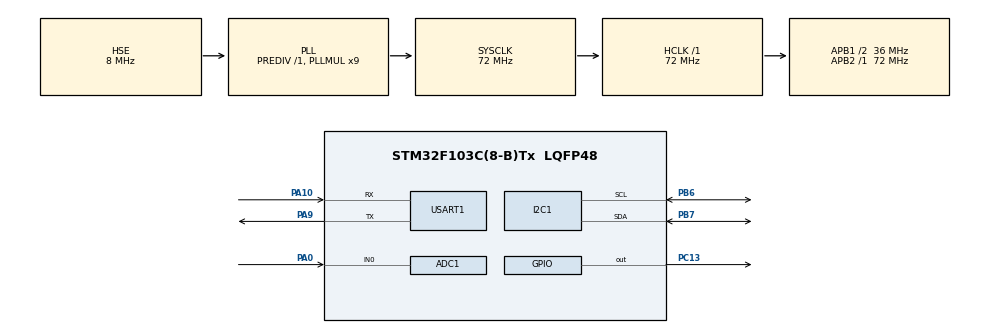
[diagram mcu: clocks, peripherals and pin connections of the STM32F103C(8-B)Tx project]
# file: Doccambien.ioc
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ADC1.Channel-1\#ChannelRegularConversion=ADC_CHANNEL_0
ADC1.NbrOfConversionFlag=1
ADC1.Rank-1\#ChannelRegularConversion=1
ADC1.SamplingTime-1\#ChannelRegularConversion=ADC_SAMPLETIME_1CYCLE_5
ADC1.master=1
Mcu.Family=STM32F1
Mcu.Name=STM32F103C(8-B)Tx
Mcu.Package=LQFP48
NVIC.PriorityGroup=NVIC_PRIORITYGROUP_4
PA0-WKUP.Signal=ADCx_IN0
PA10.Mode=Asynchronous
PA10.Signal=USART1_RX
PA13.Mode=Serial_Wire
PA13.Signal=SYS_JTMS-SWDIO
PA14.Mode=Serial_Wire
PA14.Signal=SYS_JTCK-SWCLK
PA9.Mode=Asynchronous
PA9.Signal=USART1_TX
PB6.Mode=I2C
PB6.Signal=I2C1_SCL
PB7.Mode=I2C
PB7.Signal=I2C1_SDA
PC13-TAMPER-RTC.Signal=GPIO_Output
PD0-OSC_IN.Mode=HSE-External-Oscillator
PD0-OSC_IN.Signal=RCC_OSC_IN
PD1-OSC_OUT.Mode=HSE-External-Oscillator
PD1-OSC_OUT.Signal=RCC_OSC_OUT
ProjectManager.HeapSize=0x200
ProjectManager.StackSize=0x400
ProjectManager.TargetToolchain=STM32CubeIDE
RCC.ADCPresc=RCC_ADCPCLK2_DIV6
RCC.AHBFreq_Value=72000000
RCC.APB1CLKDivider=RCC_HCLK_DIV2
RCC.APB1Freq_Value=36000000
RCC.APB1TimFreq_Value=72000000
RCC.APB2Freq_Value=72000000
RCC.APB2TimFreq_Value=72000000
RCC.HCLKFreq_Value=72000000
RCC.PLLMUL=RCC_PLL_MUL9
RCC.PLLSourceVirtual=RCC_PLLSOURCE_HSE
RCC.SYSCLKFreq_VALUE=72000000
RCC.SYSCLKSource=RCC_SYSCLKSOURCE_PLLCLK
RCC.USBFreq_Value=72000000
SH.ADCx_IN0.0=ADC1_IN0,IN0
USART1.VirtualMode=VM_ASYNC
board=custom

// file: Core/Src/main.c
/* USER CODE BEGIN Header */
/**
 ******************************************************************************
 * @file           : main.c
 * @brief          : Main program body
 ******************************************************************************
 * @attention
 *
 * Copyright (c) 2026 STMicroelectronics.
 * All rights reserved.
 *
 * This software is licensed under terms that can be found in the LICENSE file
 * in the root directory of this software component.
 * If no LICENSE file comes with this software, it is provided AS-IS.
 *
 ******************************************************************************
 */
/* USER CODE END Header */
#include "main.h"
#include "adc.h"
#include "i2c.h"
#include "usart.h"
#include "gpio.h"

/* USER CODE BEGIN Includes */
#include "ssd1306.h"
#include "ssd1306_fonts.h"
#include <stdio.h>
/* USER CODE END Includes */

/* USER CODE BEGIN PD */
#define NUM_SAMPLES 20
/* USER CODE END PD */

/* USER CODE BEGIN PV */
// --- CẤU HÌNH THANG ĐO CẢM BIẾN MỨC NƯỚC (0 - 5M, 0 - 3.3V) ---
#define SENSOR_ZERO_OFFSET_VOLTAGE 0.12f // Điện áp ban đầu khi ở ngoài không khí (0cm)
#define SENSOR_MAX_VOLTAGE         3.30f // Điện áp ngõ ra lớn nhất của cảm biến (V)
#define SENSOR_MAX_WATER_LEVEL_CM  500.0f// Chiều cao mức nước tối đa: 5 mét = 500 cm
#define ADC_SAMPLE_COUNT           32    // Tăng lên 32 mẫu để khử nhiễu tốt hơn

// Hệ số quy đổi áp suất sang cột nước: 1 Bar = 1019.72 cm H2O (P = rho * g * h)
#define BAR_TO_CM_WATER            1019.72f

// Biến lưu trữ giá trị đo
volatile uint32_t g_adc_raw = 0;
volatile float g_voltage = 0.0f;
volatile float g_pressure_bar = 0.0f;
volatile float g_pressure_kpa = 0.0f;
volatile float g_water_level_cm = 0.0f; // Mức nước tính bằng centimet (cm)

char display_line[32];
/* USER CODE END PV */

void SystemClock_Config(void);

/* USER CODE BEGIN 0 */
// Hàm đọc giá trị ADC trung bình 32 mẫu liên tục
uint32_t Read_ADC_Filtered(void) {
  uint32_t sum = 0;
  for (int i = 0; i < ADC_SAMPLE_COUNT; i++) {
    HAL_ADC_Start(&hadc1);
    if (HAL_ADC_PollForConversion(&hadc1, 10) == HAL_OK) {
      sum += HAL_ADC_GetValue(&hadc1);
    }
  }
  return (sum / ADC_SAMPLE_COUNT);
}
/* USER CODE END 0 */

int main(void)
{

  /* MCU Configuration--------------------------------------------------------*/

  /* Reset of all peripherals, Initializes the Flash interface and the Systick. */
  HAL_Init();

  /* Configure the system clock */
  SystemClock_Config();

  /* Initialize all configured peripherals */
  MX_GPIO_Init();
  MX_ADC1_Init();
  MX_USART1_UART_Init();
  MX_I2C1_Init();
  /* USER CODE BEGIN 2 */
  // 1. Hiệu chuẩn ADC1 trên STM32F1
  HAL_ADCEx_Calibration_Start(&hadc1);

  // 2. Khởi động màn hình OLED SSD1306
  HAL_Delay(100);             // Đợi màn hình nạp tụ nguồn ổn định
  ssd1306_Init();             // Gửi tập lệnh khởi tạo OLED
  ssd1306_Fill(Black);        // Xóa sạch bộ đệm
  ssd1306_SetCursor(10, 20);
  ssd1306_WriteString("SYSTEM READY", Font_11x18, White);
  ssd1306_UpdateScreen();     // Xuất dữ liệu lên màn hình
  HAL_Delay(1000);
  /* USER CODE END 2 */

  /* Infinite loop */
  /* USER CODE BEGIN WHILE */
  while (1) {
    // --- BƯỚC 1: ĐỌC DỮ LIỆU TỪ CẢM BIẾN ---
    g_adc_raw = Read_ADC_Filtered();

    // --- BƯỚC 2: TÍNH ĐIỆN ÁP, MỨC NƯỚC (CM) & ÁP SUẤT ---
    // Điện áp thực tế đo được tại chân ADC (0V - 3.3V)
    g_voltage = ((float)g_adc_raw / 4095.0f) * 3.3f;

    // Trừ hao điện áp ban đầu (0.12V) khi ở ngoài không khí
    float v_effective = g_voltage - SENSOR_ZERO_OFFSET_VOLTAGE;
    if (v_effective < 0.0f) {
      v_effective = 0.0f; // Tránh ra số âm khi điện áp hơi dao động quanh 0.12V
    }

    // Dải điện áp hoạt động thực tế từ 0.12V (ứng với 0cm) đến 3.30V (ứng với 500cm)
    float voltage_span = SENSOR_MAX_VOLTAGE - SENSOR_ZERO_OFFSET_VOLTAGE;

    // Tính trực tiếp chiều cao mức nước thô theo tỉ lệ tuyến tính
    float raw_level_cm = (v_effective / voltage_span) * SENSOR_MAX_WATER_LEVEL_CM;
    if (raw_level_cm > SENSOR_MAX_WATER_LEVEL_CM) {
      raw_level_cm = SENSOR_MAX_WATER_LEVEL_CM;
    }

    // 1. Bộ lọc thông thấp số EMA (Exponential Moving Average):
    // Giúp số liệu mượt mà, triệt tiêu xung nhiễu ngẫu nhiên của ADC
    static float s_ema_level = -1.0f;
    if (s_ema_level < 0.0f) {
      s_ema_level = raw_level_cm;
    } else {
      // 85% giá trị cũ + 15% giá trị mới: phản hồi mượt mà, số cực kỳ êm
      s_ema_level = 0.85f * s_ema_level + 0.15f * raw_level_cm;
    }

    // 2. Bộ lọc chống rung số thập phân (Deadband filter 0.2cm):
    // Nếu mức nước dao động nhỏ hơn 0.2cm thì khóa số hiển thị, tránh nhảy số liên tục
    float diff = s_ema_level - g_water_level_cm;
    if (diff < 0.0f) {
      diff = -diff;
    }
    if (diff >= 0.2f || g_water_level_cm == 0.0f) {
      g_water_level_cm = s_ema_level;
    }

    // Quy đổi mức nước sang áp suất thủy tĩnh: P = rho * g * h (1 Bar = 1019.72 cm H2O)
    g_pressure_bar = g_water_level_cm / BAR_TO_CM_WATER;

    // Quy đổi thêm đơn vị kPa (1 Bar = 100 kPa)
    g_pressure_kpa = g_pressure_bar * 100.0f;

    // --- BƯỚC 3: HIỂN THỊ LÊN MÀN HÌNH OLED ---
    ssd1306_Fill(Black); // Xóa bộ đệm màn hình

    // Dòng 1: Tiêu đề giao diện
    ssd1306_SetCursor(25, 2);
    ssd1306_WriteString("WATER LEVEL", Font_7x10, White);

    // Kẻ một đường ngang phân cách tiêu đề
    ssd1306_DrawLine(0, 14, 127, 14, White);

    // Dòng 2: Hiển thị giá trị mức nước cỡ chữ lớn (Font 11x18)
    sprintf(display_line, "%.1f cm", g_water_level_cm);
    ssd1306_SetCursor(20, 18);
    ssd1306_WriteString(display_line, Font_11x18, White);

    // Dòng 3: Hiển thị áp suất tương ứng (3 số thập phân vì thang 0-5m P tối đa ~0.49 Bar)
    sprintf(display_line, "P:  %.3f Bar", g_pressure_bar);
    ssd1306_SetCursor(5, 40);
    ssd1306_WriteString(display_line, Font_7x10, White);

    // Dòng 4: Hiển thị điện áp ngõ vào tại chân ADC
    sprintf(display_line, "Vin: %.2f V", g_voltage);
    ssd1306_SetCursor(5, 52);
    ssd1306_WriteString(display_line, Font_7x10, White);

    // LỆNH QUAN TRỌNG: Cập nhật toàn bộ khung hình ra màn hình vật lý
    ssd1306_UpdateScreen();

    HAL_Delay(300); // Tốc độ làm tươi hiển thị: ~3 lần/giây
    /* USER CODE END WHILE */

  }
}

void SystemClock_Config(void)
{
  RCC_OscInitTypeDef RCC_OscInitStruct = {0};
  RCC_ClkInitTypeDef RCC_ClkInitStruct = {0};
  RCC_PeriphCLKInitTypeDef PeriphClkInit = {0};

  /** Initializes the RCC Oscillators according to the specified parameters
  * in the RCC_OscInitTypeDef structure.
  */
  RCC_OscInitStruct.OscillatorType = RCC_OSCILLATORTYPE_HSE;
  RCC_OscInitStruct.HSEState = RCC_HSE_ON;
  RCC_OscInitStruct.HSEPredivValue = RCC_HSE_PREDIV_DIV1;
  RCC_OscInitStruct.HSIState = RCC_HSI_ON;
  RCC_OscInitStruct.PLL.PLLState = RCC_PLL_ON;
  RCC_OscInitStruct.PLL.PLLSource = RCC_PLLSOURCE_HSE;
  RCC_OscInitStruct.PLL.PLLMUL = RCC_PLL_MUL9;
  if (HAL_RCC_OscConfig(&RCC_OscInitStruct) != HAL_OK)
  {
    Error_Handler();
  }

  /** Initializes the CPU, AHB and APB buses clocks
  */
  RCC_ClkInitStruct.ClockType = RCC_CLOCKTYPE_HCLK|RCC_CLOCKTYPE_SYSCLK
                              |RCC_CLOCKTYPE_PCLK1|RCC_CLOCKTYPE_PCLK2;
  RCC_ClkInitStruct.SYSCLKSource = RCC_SYSCLKSOURCE_PLLCLK;
  RCC_ClkInitStruct.AHBCLKDivider = RCC_SYSCLK_DIV1;
  RCC_ClkInitStruct.APB1CLKDivider = RCC_HCLK_DIV2;
  RCC_ClkInitStruct.APB2CLKDivider = RCC_HCLK_DIV1;

  if (HAL_RCC_ClockConfig(&RCC_ClkInitStruct, FLASH_LATENCY_2) != HAL_OK)
  {
    Error_Handler();
  }
  PeriphClkInit.PeriphClockSelection = RCC_PERIPHCLK_ADC;
  PeriphClkInit.AdcClockSelection = RCC_ADCPCLK2_DIV6;
  if (HAL_RCCEx_PeriphCLKConfig(&PeriphClkInit) != HAL_OK)
  {
    Error_Handler();
  }
}

void Error_Handler(void)
{
  __disable_irq();
  while (1) {
  }
}
#ifdef USE_FULL_ASSERT
/**
  * @brief  Reports the name of the source file and the source line number
  *         where the assert_param error has occurred.
  * @param  file: pointer to the source file name
  * @param  line: assert_param error line source number
  * @retval None
  */
void assert_failed(uint8_t *file, uint32_t line)
{
  /* USER CODE BEGIN 6 */
  /* User can add his own implementation to report the file name and line
     number, ex: printf("Wrong parameters value: file %s on line %d\r\n", file,
     line) */
  /* USER CODE END 6 */
}
#endif /* USE_FULL_ASSERT */
